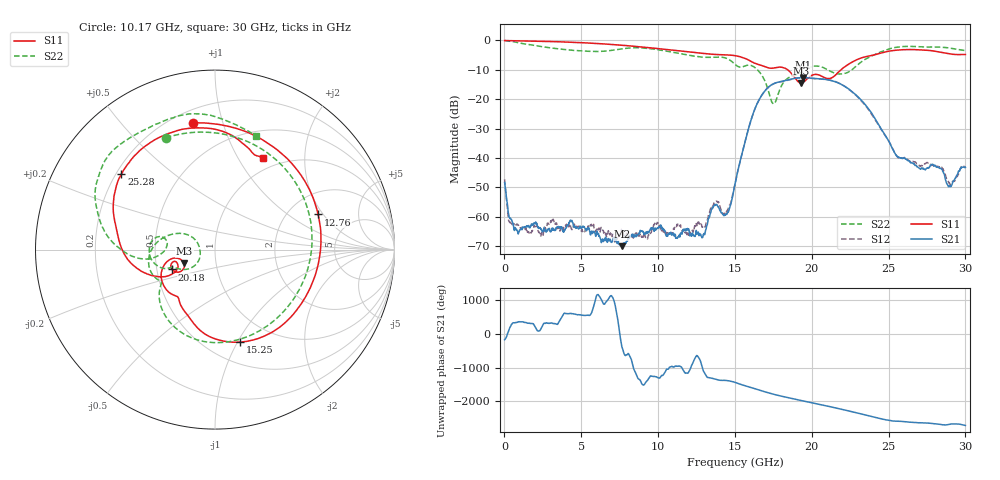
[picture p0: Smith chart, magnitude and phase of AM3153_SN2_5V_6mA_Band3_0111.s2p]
!Agilent Technologies,E8364B,MY43040894,A.07.50.67
!Agilent E8364B: A.07.50.67
!Date: Wednesday, May 13, 2020 06:22:11
!Correction: S11(Full 2 Port(1,2))
!S21(Full 2 Port(1,2))
!S12(Full 2 Port(1,2))
!S22(Full 2 Port(1,2))
!S2P File: Measurements: S11, S21, S12, S22:
# Hz S  dB  R 50
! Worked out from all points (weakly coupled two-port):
!   1601 points, 10 MHz to 30 GHz, reference 50 ohm
!   highest |S21| = -12.65 dB at 19.43 GHz (marker M1); lowest = -70.0 dB at 7.657 GHz (marker M2)
!   lowest |S11| = -14.5 dB at 19.32 GHz (marker M3), VSWR 1.46, Z = 35 - j5.54 ohm
!   |S11| at or under -10 dB: 18.44 GHz to 21.91 GHz (3.472 GHz wide, 17.2 % of centre)
!   |S22| runs from -21.6 to 0.0 dB; largest |S21 - S12| = 0.0077
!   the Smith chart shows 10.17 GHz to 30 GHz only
!   S11 on the Smith chart (normalised r, x): 10.17 GHz: 0.28, +0.80; 12.76 GHz: 2.88, +1.78; 15.25 GHz: 0.71, -1.02; 20.18 GHz: 0.60, -0.14; 25.28 GHz: 0.22, +0.34; 30 GHz: 0.84, +1.27
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1e7  -0.06 -2.0  -48.35 -174.6  -47.27 -34.5  -0.02 -4.5
3.661312e8  -0.10 -10.7  -60.44 -162.7  -61.86 -24.6  -0.31 -25.5
1.228344e9  -0.19 -35.2  -63.54 -4.4  -63.92 -35.6  -1.14 -80.1
2.652869e9  -0.31 -74.1  -64.66 -47.1  -64.02 72.2  -2.30 -156.1
5.014581e9  -0.78 -133.9  -63.75 -165.4  -64.54 -177.5  -3.58 93.2
6.570312e9  -1.24 -170.9  -67.02 -152.6  -66.08 122.4  -3.63 1.0
7.65745e9  -1.66 163.5  -70.04 -46.9  -64.57 7.4  -2.87 -81.4
8.800819e9  -2.19 135.6  -65.74 81.9  -66.18 -62.0  -2.49 -166.1
1.001916e10  -2.81 103.9  -63.84 136.0  -62.53 131.5  -3.20 121.7
1.016911e10  -2.89 99.8  -62.79 168.5  -64.04 125.5  -3.33 113.7
1.275575e10  -4.34 18.8  -66.10 -82.9  -61.90 146.3  -5.63 -19.7
1.5005e10  -5.20 -64.7  -48.85 4.1  -48.85 4.2  -8.13 -142.3
1.524867e10  -5.45 -74.8  -43.00 -36.8  -43.15 -37.9  -8.99 -147.5
1.68044e10  -8.68 -120.5  -18.23 103.0  -18.21 103.4  -12.33 158.6
1.751666e10  -9.41 -130.4  -14.74 10.9  -14.76 11.1  -21.60 -173.9
1.931606e10  -14.52 -156.0  -12.66 -175.6  -12.74 -174.9  -10.86 -158.5
1.942852e10  -14.34 -152.0  -12.65 173.2  -12.74 173.8  -10.49 -159.3
2.000958e10  -11.90 -151.1  -12.87 116.8  -12.95 117.6  -8.91 -171.2
2.017828e10  -11.60 -155.1  -12.95 100.9  -13.02 101.7  -8.74 -175.9
2.501416e10  -3.68 147.0  -34.26 -42.7  -34.33 -38.6  -2.97 159.1
2.527658e10  -3.46 140.9  -37.06 -61.4  -36.84 -56.7  -2.55 153.5
3e10  -4.81 62.5  -43.24 166.1  -43.32 163.8  -3.46 70.0
